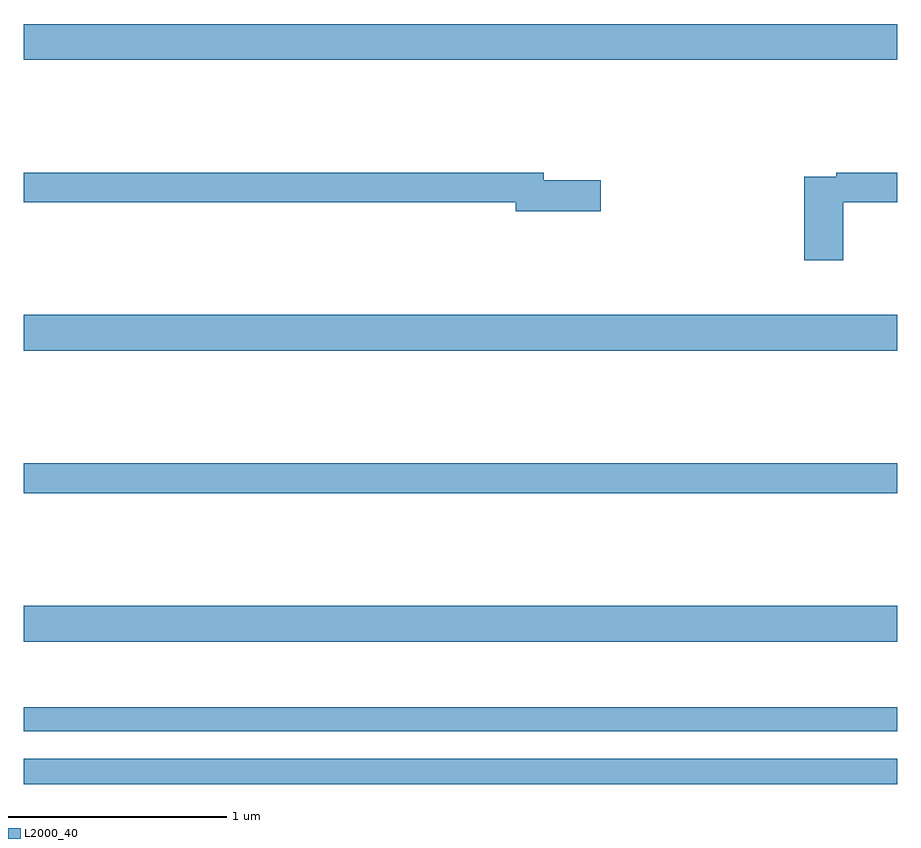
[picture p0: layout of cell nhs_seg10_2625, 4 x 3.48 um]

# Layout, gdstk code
import gdstk
lib = gdstk.Library(unit=1e-6, precision=1e-09)
def R(c, l, rs):  # rectangles x0, y0, x1, y1
    for r in rs: c.add(gdstk.rectangle(r[:2], r[2:], *l))
def A(c, l, x, y, w, h, nx, ny, dx, dy):  # array of equal rectangles
    R(c, l, [(x+i*dx, y+j*dy, x+i*dx+w, y+j*dy+h) for i in range(nx) for j in range(ny)])
def P(c, l, *ps):  # polygons
    for p in ps: c.add(gdstk.Polygon(p, *l))
L2000_40 = (2000, 40)

nhs_seg10_2625 = lib.new_cell('nhs_seg10_2625')
A(nhs_seg10_2625, L2000_40, 253, 1285.664, 4, 0.164, 1, 3, 0, 1.332)
R(nhs_seg10_2625, L2000_40, [(253,1285.012,257,1285.128), (253,1285.254,257,1285.363), (253,1286.344,257,1286.48)])
P(nhs_seg10_2625, L2000_40, [(256.752,1287.676),(257,1287.676),(257,1287.812),(256.72,1287.812),(256.72,1287.792),(256.574,1287.792),(256.574,1287.411),(256.752,1287.411)],
  [(255.643,1287.776),(255.382,1287.776),(255.382,1287.812),(253,1287.812),(253,1287.676),(255.254,1287.676),(255.254,1287.634),(255.643,1287.634)])

lib.write_gds('nhs_seg10_2625.gds')
